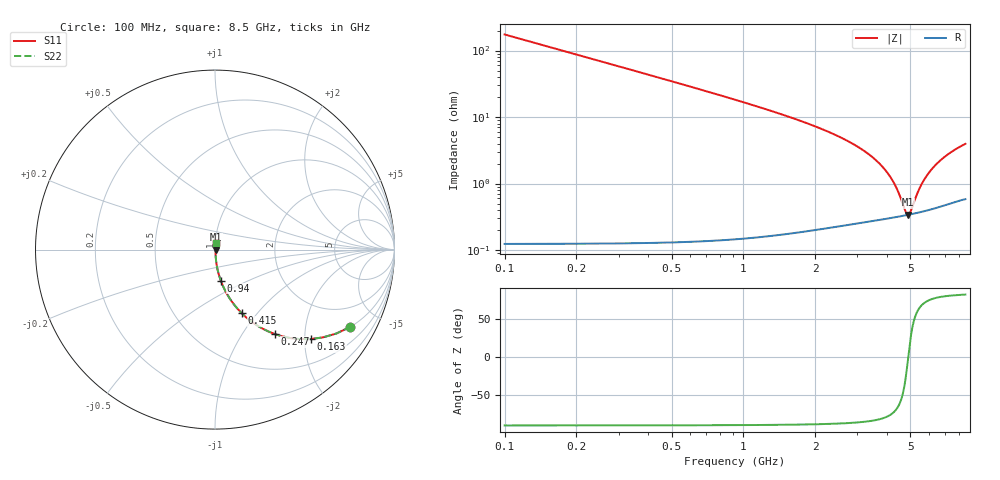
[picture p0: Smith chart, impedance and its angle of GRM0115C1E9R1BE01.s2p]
!Murata Part Number: GRM0115C1E9R1BE01
!These Parameters are Measured in Series Mode Connection
!Data Generated on Mar 30, 2021
!  o--ll--o
!Port1  Port2
!  o------o
!Operation Temp=25[degC], DC Bias Voltage=0[V]
!Freq. Start=100[MHz] Stop=9[GHz] 401[Steps]
# Hz S RI R 50
!Freq.(Hz) S11(Real) S11(Imag) S21(Real) S21(Imag) S12(Real) S12(Imag) S22(Real) S22(Imag)
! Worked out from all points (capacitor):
!   401 points, 100 MHz to 8.5 GHz, reference 50 ohm
!   read as one part in series: C = 9.1 pF near 142 MHz
!   lowest |Z| = 339 mohm at 4.888 GHz (marker M1)
!   series resonance near 4.9 GHz, so ESL is about 120 pH
!   S11 on the Smith chart (normalised r, x): 100 MHz: 1.00, -3.50; 163 MHz: 1.00, -2.14; 247 MHz: 1.00, -1.41; 415 MHz: 1.00, -0.84; 940 MHz: 1.00, -0.36; 8.5 GHz: 1.01, +0.08
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1e8  0.7533 -0.4307  0.2467 0.4307  0.2467 0.4307  0.7533 -0.4307
1.63e8  0.5345 -0.4982  0.4655 0.4982  0.4655 0.4982  0.5345 -0.4982
2.47e8  0.333 -0.4704  0.667 0.4704  0.667 0.4704  0.333 -0.4704
3.31e8  0.2171 -0.4111  0.7829 0.4111  0.7829 0.4111  0.2171 -0.4111
4.15e8  0.1496 -0.3552  0.8504 0.3552  0.8504 0.3552  0.1496 -0.3552
6.25e8  0.0714 -0.255  0.9286 0.255  0.9286 0.255  0.0714 -0.255
9.4e8  0.0323 -0.1728  0.9677 0.1728  0.9677 0.1728  0.0323 -0.1728
1.507e9  0.0125 -0.103  0.9875 0.103  0.9875 0.103  0.0125 -0.103
2.914e9  0.00391 -0.0381  0.9961 0.0381  0.9961 0.0381  0.00391 -0.0381
3.733e9  0.00321 -0.0192  0.9968 0.0192  0.9968 0.0192  0.00321 -0.0192
4.048e9  0.00316 -0.0134  0.9968 0.0134  0.9968 0.0134  0.00316 -0.0134
4.3e9  0.00317 -0.00913  0.9968 0.00913  0.9968 0.00913  0.00317 -0.00913
4.489e9  0.00322 -0.00611  0.9968 0.00611  0.9968 0.00611  0.00322 -0.00611
4.762e9  0.00331 -0.00198  0.9967 0.00198  0.9967 0.00198  0.00331 -0.00198
4.888e9  0.00337 -0.000165  0.9966 0.000165  0.9966 0.000165  0.00337 -0.000165
4.993e9  0.00342 0.00131  0.9966 -0.00131  0.9966 -0.00131  0.00342 0.00131
5.371e9  0.00366 0.00639  0.9963 -0.00639  0.9963 -0.00639  0.00366 0.00639
5.707e9  0.00393 0.0106  0.9961 -0.0106  0.9961 -0.0106  0.00393 0.0106
5.98e9  0.00417 0.0139  0.9958 -0.0139  0.9958 -0.0139  0.00417 0.0139
6.295e9  0.0045 0.0175  0.9955 -0.0175  0.9955 -0.0175  0.0045 0.0175
7.114e9  0.00548 0.0261  0.9945 -0.0261  0.9945 -0.0261  0.00548 0.0261
8.5e9  0.00729 0.0386  0.9927 -0.0386  0.9927 -0.0386  0.00729 0.0386
